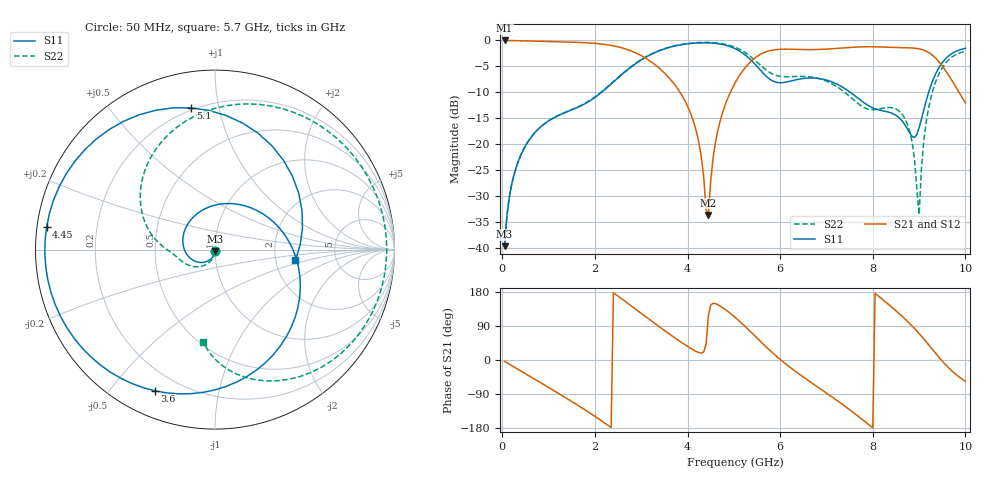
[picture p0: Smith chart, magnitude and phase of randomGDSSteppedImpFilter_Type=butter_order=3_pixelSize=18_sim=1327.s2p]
! freq	dB(S11)	phase(S11)	dB(S12)	phase(S12)
!  dB(S21)	phase(S21)	dB(S22)	phase(S22)
!S-par simulation data
#  GHz  S  DB  R 50
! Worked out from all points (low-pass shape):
!   200 points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, 50 MHz to 10 GHz, reference 50 ohm
!   highest |S21| = -0.01 dB at 50 MHz (marker M1); lowest = -33.6 dB at 4.45 GHz (marker M2)
!   |S21| within 3 dB of the highest: start of sweep to 3.015 GHz; 5.512 GHz to 9.31 GHz (3.798 GHz wide, 51.2 % of centre)
!   lowest |S11| = -39.6 dB at 50 MHz (marker M3), VSWR 1.02, Z = 49.9 - j1.04 ohm
!   |S11| at or under -10 dB: start of sweep to 2.142 GHz; 7.515 GHz to 9.207 GHz (1.692 GHz wide, 20.2 % of centre)
!   |S22| runs from -39.6 to -0.4 dB; largest |S21 - S12| = 0
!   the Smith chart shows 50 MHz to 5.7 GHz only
!   S11 on the Smith chart (normalised r, x): 50 MHz: 1.00, -0.02; 3.6 GHz: 0.11, -0.66; 4.45 GHz: 0.03, +0.07; 5.1 GHz: 0.19, +0.83; 5.7 GHz: 2.58, -0.39
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0.05  -39.62 -93.3  -0.01 -3.7  -0.01 -3.7  -39.61 -92.2
0.5  -20.32 -132.4  -0.09 -36.3  -0.09 -36.3  -20.30 -121.0
1.15  -14.73 167.3  -0.25 -83.4  -0.25 -83.4  -14.70 -155.4
1.75  -12.37 96.9  -0.43 -128.7  -0.43 -128.7  -12.28 -175.9
2.45  -7.60 5.5  -1.14 173.0  -1.14 173.0  -7.50 158.3
3.4  -1.95 -94.9  -5.43 86.9  -5.43 86.9  -1.91 85.9
3.6  -1.36 -113.1  -7.19 69.3  -7.19 69.3  -1.32 68.4
4.15  -0.52 -160.9  -16.23 24.9  -16.23 24.9  -0.47 20.9
4.45  -0.48 172.2  -33.59 116.2  -33.59 116.2  -0.39 -4.7
4.65  -0.63 152.8  -17.51 146.3  -17.51 146.3  -0.51 -21.8
5.05  -1.69 106.5  -7.81 110.1  -7.81 110.1  -1.40 -56.2
5.1  -1.93 99.7  -7.07 104.7  -7.07 104.7  -1.60 -60.4
5.7  -6.90 -7.7  -2.18 34.3  -2.18 34.3  -5.70 -97.2
6.1  -8.07 -91.7  -1.69 -8.5  -1.69 -8.5  -7.00 -105.7
6.7  -7.23 -169.0  -1.77 -62.0  -1.77 -62.0  -7.09 -137.1
7.45  -9.59 136.5  -1.38 -126.6  -1.38 -126.6  -10.40 146.8
8.35  -13.83 122.7  -1.32 145.6  -1.32 145.6  -12.91 -16.8
8.8  -17.84 127.8  -1.43 95.8  -1.43 95.8  -17.59 -85.0
9  -16.85 169.2  -1.62 70.0  -1.62 70.0  -33.54 142.7
9.1  -13.40 178.5  -1.87 55.9  -1.87 55.9  -19.43 69.0
9.3  -7.62 169.0  -2.93 26.1  -2.93 26.1  -9.54 31.2
10  -1.52 97.3  -12.02 -56.1  -12.02 -56.1  -2.10 -57.1
